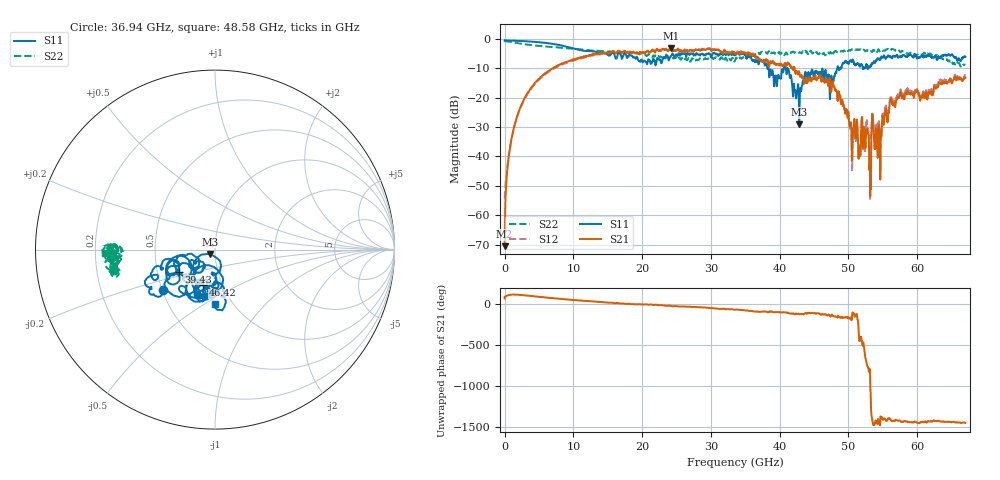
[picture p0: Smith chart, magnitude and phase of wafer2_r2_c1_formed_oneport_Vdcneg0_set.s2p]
!Keysight Technologies,N5227A,US51270248,A.10.65.08
!Date: Tuesday, June 11, 2024 08:15:50
!Correction: S11(Full 2 Port(1,4))
!S41(Full 2 Port(1,4))
!S14(Full 2 Port(1,4))
!S44(Full 2 Port(1,4))
!S2P File: Measurements: S11, S41, S14, S44:
# Hz S  dB  R 50
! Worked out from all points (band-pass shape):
!   3201 points, 10 MHz to 67 GHz, reference 50 ohm
!   highest |S21| = -3.27 dB at 24.19 GHz (marker M1); lowest = -70.6 dB at 10 MHz (marker M2)
!   |S21| within 3 dB of the highest: 11.27 GHz to 36.39 GHz (25.12 GHz wide, 105 % of centre); 36.43876 GHz to 36.55734 GHz (118.6 MHz wide, 0.325 % of centre)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
!   lowest |S11| = -29.1 dB at 42.84 GHz (marker M3), VSWR 1.07, Z = 47.4 - j2.25 ohm
!   |S11| at or under -10 dB: 38.36 GHz to 40.6 GHz (2.24 GHz wide, 5.67 % of centre); 40.83 GHz to 41.12 GHz (283.3 MHz wide, 0.691 % of centre); 41.16 GHz to 48.37 GHz (7.211 GHz wide, 16.1 % of centre)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
!   |S22| runs from -9.5 to -0.7 dB; largest |S21 - S12| = 0.054
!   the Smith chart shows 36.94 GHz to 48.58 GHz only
!   S11 on the Smith chart (normalised r, x): 36.94 GHz: 0.50, -0.26; 39.43 GHz: 0.65, -0.17; 46.42 GHz: 0.82, -0.34; 48.58 GHz: 0.83, -0.55
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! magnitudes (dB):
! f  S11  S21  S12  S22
! 10 MHz  -0.7  -70.6  -54.3  -0.7
! 428.7 MHz  -0.6  -43.8  -42.9  -0.9
! 805.5 MHz  -0.6  -37.0  -36.9  -1.1
! 2.669 GHz  -0.8  -21.4  -21.7  -1.8
! 5.997 GHz  -1.4  -11.6  -12.0  -2.7
! 11.19 GHz  -4.0  -6.3  -6.7  -3.7
! 22.35 GHz  -7.0  -3.9  -3.9  -6.0
! 24.19 GHz  -5.9  -3.3  -3.3  -6.4
! 33.51 GHz  -5.6  -5.1  -5.0  -7.4
! 36.94 GHz  -8.7  -6.9  -7.0  -4.8
! 39.43 GHz  -12.5  -8.9  -8.8  -4.9
! 40.96 GHz  -11.1  -9.1  -9.0  -4.7
! 42.84 GHz  -29.1  -11.4  -11.3  -4.6
! 44.68 GHz  -10.6  -13.9  -13.7  -4.6
! 46.42 GHz  -13.6  -14.3  -14.2  -4.9
! 47.55 GHz  -13.0  -17.2  -16.9  -4.9
! 48.58 GHz  -10.4  -17.9  -18.2  -4.3
! 50.4 GHz  -7.7  -29.9  -30.6  -3.7
! 52.56 GHz  -9.0  -32.9  -32.5  -4.2
! 52.99 GHz  -9.5  -37.9  -37.5  -4.2
! 55.84 GHz  -5.8  -25.2  -24.5  -3.7
! 67 GHz  -6.2  -13.3  -12.7  -8.8
